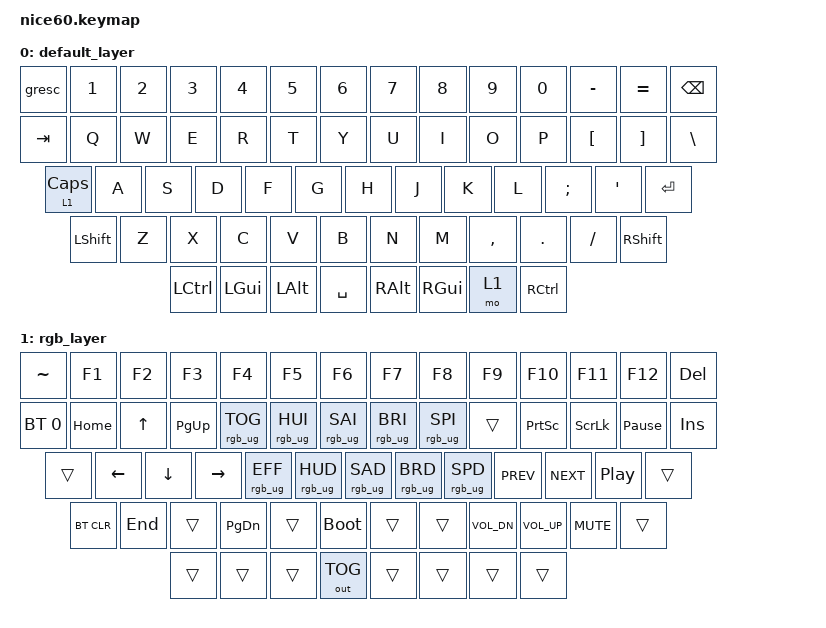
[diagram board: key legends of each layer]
/*
 * Copyright (c) 2021 Nick Winans
 *
 * SPDX-License-Identifier: MIT
 */

#include <behaviors.dtsi>
#include <dt-bindings/zmk/keys.h>
#include <dt-bindings/zmk/rgb.h>
#include <dt-bindings/zmk/bt.h>
#include <dt-bindings/zmk/outputs.h>
#include <dt-bindings/zmk/reset.h>
#include <dt-bindings/zmk/ext_power.h>

/ {
	keymap {
		compatible = "zmk,keymap";
		
		default_layer {
// ------------------------------------------------------------------------------------------
// | ESC |  1  |  2  |  3  |  4  |  5  |  6  |  7  |  8  |  9  |  0  |  -  |  =  |   BKSP   |
// | TAB  |  Q  |  W  |  E  |  R  |  T  |  Y  |  U  |  I  |  O  |  P  |  [  |  ]  |   "|"   |
// | CAPS  |  A  |  S  |  D  |  F  |  G  |  H  |  J  |  K  |  L  |  ;  |  '  |     ENTER    |
// |  SHIFT  |  Z  |  X  |  C  |  V  |  B  |  N  |  M  |  ,  |  .  |  /  |      SHIFT       |
// |  CTL  |  WIN  |  ALT  |            SPACE              |  ALT  |  WIN  |  MO(1) |  CTL  |
// ------------------------------------------------------------------------------------------
			bindings = <
	&gresc  &kp N1 &kp N2 &kp N3 &kp N4 &kp N5 &kp N6 &kp N7 &kp N8 &kp N9 &kp N0 &kp MINUS &kp EQUAL  &kp BSPC
	&kp TAB  &kp Q  &kp W  &kp E  &kp R  &kp T  &kp Y  &kp U  &kp I  &kp O  &kp P  &kp LBKT  &kp RBKT  &kp BSLH
	&lt 1 CLCK  &kp A  &kp S  &kp D  &kp F  &kp G  &kp H  &kp J  &kp K  &kp L  &kp SEMI &kp SQT           &kp RET
	&kp LSHFT   &kp Z  &kp X  &kp C  &kp V  &kp B  &kp N  &kp M  &kp COMMA &kp DOT &kp FSLH           &kp RSHFT
	&kp LCTRL &kp LGUI &kp LALT             &kp SPACE                     &kp RALT  &kp RGUI  &mo 1   &kp RCTRL
			>;
		};

		rgb_layer {
// ---------------------------------------------------------------------------------------------------------
// | TILDE | F1  | F2  | F3  | F4  | F5  | F6  | F7  | F8  | F9  | F10  | F11  | F12  |       DEL          |
// |  BT 0  | HOME | UP | PGUP | RGB_TOG | HUEUP | SATUP | BRIUP | SPDUP | | PSCRN | SCLK | PAUSE |  INS   |
// |   B      | LT | DN | RT | RGB  FOR | HUEDN | SATDN | BRIDN | SPDDN | C_PREV | C_NEXT | C_PP |         |
// |    BT CLEAR    | END |   | PGDOWN |     |  BOOT   |     |     |  VDN  |  VUP  |  MUTE  |              |
// |        |         |        |              OUT_TOG               |         |        |         |         |
// ---------------------------------------------------------------------------------------------------------
			bindings = <
	&kp TILDE   &kp F1      &kp F2      &kp F3     &kp F4       &kp F5       &kp F6       &kp F7       &kp F8     &kp F9     &kp F10     &kp F11     &kp F12          &kp DEL
	&bt BT_SEL 0  &kp HOME   &kp UP   &kp PAGE_UP  &rgb_ug RGB_TOG  &rgb_ug RGB_HUI  &rgb_ug RGB_SAI &rgb_ug RGB_BRI &rgb_ug RGB_SPI  &trans   &kp PSCRN  &kp SLCK  &kp PAUSE_BREAK   &kp INS 
	&trans      &kp LEFT  &kp DOWN  &kp RIGHT &rgb_ug RGB_EFF  &rgb_ug RGB_HUD &rgb_ug RGB_SAD &rgb_ug RGB_BRD &rgb_ug RGB_SPD &kp C_PREV   &kp C_NEXT  &kp C_PP            &trans
	&bt BT_CLR    &kp END    &trans    &kp PAGE_DOWN   &trans      &bootloader      &trans      &trans      &kp C_VOL_DN    &kp C_VOL_UP    &kp C_MUTE           &trans
	&trans   &trans  &trans                            &out OUT_TOG                                  &trans      &trans      &trans      &trans
			>;
		};
	};
};
